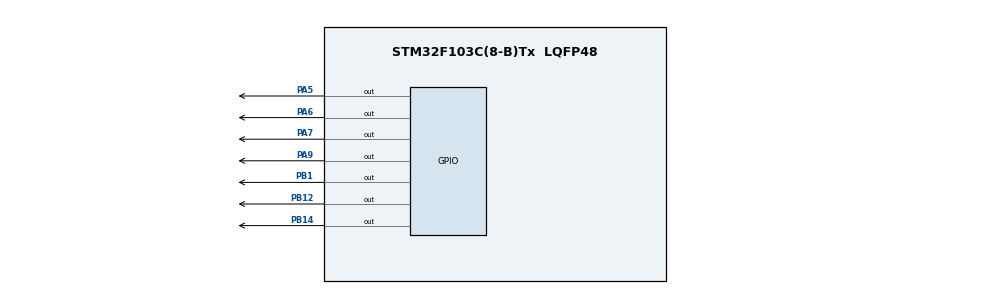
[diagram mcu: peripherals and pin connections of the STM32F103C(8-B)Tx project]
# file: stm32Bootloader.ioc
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Mcu.Family=STM32F1
Mcu.Name=STM32F103C(8-B)Tx
Mcu.Package=LQFP48
NVIC.PriorityGroup=NVIC_PRIORITYGROUP_4
PA13.Mode=Serial_Wire
PA13.Signal=SYS_JTMS-SWDIO
PA14.Mode=Serial_Wire
PA14.Signal=SYS_JTCK-SWCLK
PA5.Signal=GPIO_Output
PA6.Signal=GPIO_Output
PA7.Signal=GPIO_Output
PA9.Signal=GPIO_Output
PB1.Signal=GPIO_Output
PB12.Signal=GPIO_Output
PB14.Signal=GPIO_Output
ProjectManager.HeapSize=0x200
ProjectManager.StackSize=0x400
ProjectManager.TargetToolchain=SW4STM32
RCC.APB1Freq_Value=8000000
RCC.APB2Freq_Value=8000000
board=custom

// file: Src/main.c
/**
  ******************************************************************************
  * @file           : main.c
  * @brief          : Main program body
  ******************************************************************************
  ** This notice applies to any and all portions of this file
  * that are not between comment pairs USER CODE BEGIN and
  * USER CODE END. Other portions of this file, whether
  * inserted by the user or by software development tools
  * are owned by their respective copyright owners.
  *
  * COPYRIGHT(c) 2018 STMicroelectronics
  *
  * Redistribution and use in source and binary forms, with or without modification,
  * are permitted provided that the following conditions are met:
  *   1. Redistributions of source code must retain the above copyright notice,
  *      this list of conditions and the following disclaimer.
  *   2. Redistributions in binary form must reproduce the above copyright notice,
  *      this list of conditions and the following disclaimer in the documentation
  *      and/or other materials provided with the distribution.
  *   3. Neither the name of STMicroelectronics nor the names of its contributors
  *      may be used to endorse or promote products derived from this software
  *      without specific prior written permission.
  *
  * THIS SOFTWARE IS PROVIDED BY THE COPYRIGHT HOLDERS AND CONTRIBUTORS "AS IS"
  * AND ANY EXPRESS OR IMPLIED WARRANTIES, INCLUDING, BUT NOT LIMITED TO, THE
  * IMPLIED WARRANTIES OF MERCHANTABILITY AND FITNESS FOR A PARTICULAR PURPOSE ARE
  * DISCLAIMED. IN NO EVENT SHALL THE COPYRIGHT HOLDER OR CONTRIBUTORS BE LIABLE
  * FOR ANY DIRECT, INDIRECT, INCIDENTAL, SPECIAL, EXEMPLARY, OR CONSEQUENTIAL
  * DAMAGES (INCLUDING, BUT NOT LIMITED TO, PROCUREMENT OF SUBSTITUTE GOODS OR
  * SERVICES; LOSS OF USE, DATA, OR PROFITS; OR BUSINESS INTERRUPTION) HOWEVER
  * CAUSED AND ON ANY THEORY OF LIABILITY, WHETHER IN CONTRACT, STRICT LIABILITY,
  * OR TORT (INCLUDING NEGLIGENCE OR OTHERWISE) ARISING IN ANY WAY OUT OF THE USE
  * OF THIS SOFTWARE, EVEN IF ADVISED OF THE POSSIBILITY OF SUCH DAMAGE.
  *
  ******************************************************************************
  */
#include "main.h"
#include "stm32f1xx_hal.h"

/* USER CODE BEGIN PV */
/* Private variables ---------------------------------------------------------*/

/* USER CODE END PV */

void SystemClock_Config(void);
static void MX_GPIO_Init(void);

/* USER CODE BEGIN PFP */
/* Private function prototypes -----------------------------------------------*/
void flash_unlock(void);
void flash_lock(void);
void flash_program_halfword(uint32_t address, uint16_t data);
void flash_program_word(uint32_t address, uint32_t data);
void flash_program_byteword(uint32_t address, uint8_t data);
void flash_pageErase(uint32_t address);
void flash_massErase(void);
/* USER CODE END PFP */

int main(void)
{

  /* MCU Configuration----------------------------------------------------------*/

  /* Reset of all peripherals, Initializes the Flash interface and the Systick. */
  HAL_Init();

  /* Configure the system clock */
  SystemClock_Config();

  /* Initialize all configured peripherals */
  MX_GPIO_Init();
  /* USER CODE BEGIN 2 */
  uint32_t inputAddress = 0x08004000;
  uint32_t inputData = 0x12345678;

  flash_unlock();
  flash_program_word(inputAddress, inputData);
  flash_lock();

  /* USER CODE END 2 */

  /* Infinite loop */
  while (1)
  {

  }

}

void SystemClock_Config(void)
{

  RCC_OscInitTypeDef RCC_OscInitStruct;
  RCC_ClkInitTypeDef RCC_ClkInitStruct;

    /**Initializes the CPU, AHB and APB busses clocks
    */
  RCC_OscInitStruct.OscillatorType = RCC_OSCILLATORTYPE_HSI;
  RCC_OscInitStruct.HSIState = RCC_HSI_ON;
  RCC_OscInitStruct.HSICalibrationValue = 16;
  RCC_OscInitStruct.PLL.PLLState = RCC_PLL_NONE;
  if (HAL_RCC_OscConfig(&RCC_OscInitStruct) != HAL_OK)
  {
    _Error_Handler(__FILE__, __LINE__);
  }

    /**Initializes the CPU, AHB and APB busses clocks
    */
  RCC_ClkInitStruct.ClockType = RCC_CLOCKTYPE_HCLK|RCC_CLOCKTYPE_SYSCLK
                              |RCC_CLOCKTYPE_PCLK1|RCC_CLOCKTYPE_PCLK2;
  RCC_ClkInitStruct.SYSCLKSource = RCC_SYSCLKSOURCE_HSI;
  RCC_ClkInitStruct.AHBCLKDivider = RCC_SYSCLK_DIV1;
  RCC_ClkInitStruct.APB1CLKDivider = RCC_HCLK_DIV1;
  RCC_ClkInitStruct.APB2CLKDivider = RCC_HCLK_DIV1;

  if (HAL_RCC_ClockConfig(&RCC_ClkInitStruct, FLASH_LATENCY_0) != HAL_OK)
  {
    _Error_Handler(__FILE__, __LINE__);
  }

    /**Configure the Systick interrupt time
    */
  HAL_SYSTICK_Config(HAL_RCC_GetHCLKFreq()/1000);

    /**Configure the Systick
    */
  HAL_SYSTICK_CLKSourceConfig(SYSTICK_CLKSOURCE_HCLK);

  /* SysTick_IRQn interrupt configuration */
  HAL_NVIC_SetPriority(SysTick_IRQn, 0, 0);
}

/** Configure pins as
        * Analog
        * Input
        * Output
        * EVENT_OUT
        * EXTI
*/
static void MX_GPIO_Init(void)
{

  GPIO_InitTypeDef GPIO_InitStruct;

  /* GPIO Ports Clock Enable */
  __HAL_RCC_GPIOA_CLK_ENABLE();
  __HAL_RCC_GPIOB_CLK_ENABLE();

  /*Configure GPIO pin Output Level */
  HAL_GPIO_WritePin(GPIOA, GPIO_PIN_5|GPIO_PIN_6|GPIO_PIN_7|GPIO_PIN_9, GPIO_PIN_RESET);

  /*Configure GPIO pin Output Level */
  HAL_GPIO_WritePin(GPIOB, GPIO_PIN_1|GPIO_PIN_12|GPIO_PIN_14, GPIO_PIN_RESET);

  /*Configure GPIO pins : PA5 PA6 PA7 PA9 */
  GPIO_InitStruct.Pin = GPIO_PIN_5|GPIO_PIN_6|GPIO_PIN_7|GPIO_PIN_9;
  GPIO_InitStruct.Mode = GPIO_MODE_OUTPUT_PP;
  GPIO_InitStruct.Pull = GPIO_NOPULL;
  GPIO_InitStruct.Speed = GPIO_SPEED_FREQ_LOW;
  HAL_GPIO_Init(GPIOA, &GPIO_InitStruct);

  /*Configure GPIO pins : PB1 PB12 PB14 */
  GPIO_InitStruct.Pin = GPIO_PIN_1|GPIO_PIN_12|GPIO_PIN_14;
  GPIO_InitStruct.Mode = GPIO_MODE_OUTPUT_PP;
  GPIO_InitStruct.Pull = GPIO_NOPULL;
  GPIO_InitStruct.Speed = GPIO_SPEED_FREQ_LOW;
  HAL_GPIO_Init(GPIOB, &GPIO_InitStruct);

}

/* USER CODE BEGIN 4 */
void flash_unlock(void)
{
  HAL_StatusTypeDef status = HAL_OK;
  uint16_t enableUnlock = 0x1 << 7;

  if((FLASH->CR & enableUnlock) != 0)
  {
   (FLASH->KEYR) = FLASH_KEY1;
   (FLASH->KEYR) = FLASH_KEY2;

    if((FLASH->CR & enableUnlock) != 0)
    {
    status = HAL_ERROR;
    }
  }
}

void flash_lock(void)
{
  uint16_t enableLock = 0x1 << 7;
  (FLASH->CR) = ((FLASH->CR) | enableLock);
}

void flash_program_halfword(uint32_t address, uint16_t data)
{
  //uint32_t writeAddress = startAddress + address;
  (FLASH->CR) = ((FLASH->CR) | enableProgramFlash);
  (*(__IO uint16_t*)(address)) = data;
  (FLASH->CR) = (FLASH->CR) & (~enableProgramFlash);
}

void flash_program_word(uint32_t address, uint32_t data)
{
  (FLASH->CR) = ((FLASH->CR) | enableProgramFlash);
  for (int i = 0; i < 2; i++)
  {
  flash_program_halfword(address+(2*i) , (uint16_t)(data >> (16*i)));
  }
  (FLASH->CR) = (FLASH->CR) & (~enableProgramFlash);
}

void flash_program_byteword(uint32_t address, uint8_t data)
{
  (FLASH->CR) = ((FLASH->CR) | enableProgramFlash);
  flash_program_halfword(address , (uint16_t)(data + 0xFF00));
  (FLASH->CR) = (FLASH->CR) & (~enableProgramFlash);
}

void flash_pageErase(uint32_t address)
{
  (FLASH->CR) =  (FLASH->CR) | enablePageErase;
  (FLASH->AR) = address;
  (FLASH->CR) =  (FLASH->CR) | enableStartErase;
}

void flash_massErase(void)
{
  (FLASH->CR) =  (FLASH->CR) | enableMassErase;
  (FLASH->CR) =  (FLASH->CR) | enableStartErase;
}
/* USER CODE END 4 */

void _Error_Handler(char *file, int line)
{
  while(1)
  {
  }
}

/************************ (C) COPYRIGHT STMicroelectronics *****END OF FILE****/
